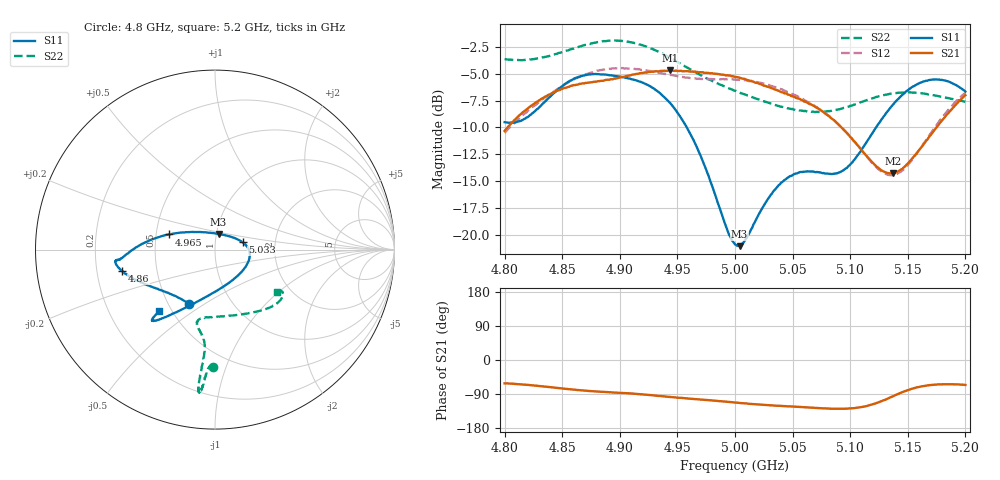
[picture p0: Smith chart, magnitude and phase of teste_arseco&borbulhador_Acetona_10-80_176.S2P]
! Network Analyzer HP8722D
! Hewlett-Packard
! Data name: Linha & Wilkinson
! Saver's name: Rodrigo Anjos
! Comments: Teste da utilização de aquisição
! continua pelo VNA HP8722D
! Time and date: 17/4/2025 15:49
!  Frequency  S11  S21  S12  S22
# HZ  S  MA R 50
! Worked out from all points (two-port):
!   401 points, 4.8 GHz to 5.2 GHz, reference 50 ohm
!   highest |S21| = -4.70 dB at 4.944 GHz (marker M1); lowest = -14.3 dB at 5.137 GHz (marker M2)
!   |S21| within 3 dB of the highest: 4.827 GHz to 5.063 GHz (236.1 MHz wide, 4.78 % of centre); 5.193316 GHz to end of sweep
!   lowest |S11| = -21.0 dB at 5.004 GHz (marker M3), VSWR 1.20, Z = 51.3 + j8.95 ohm
!   |S11| at or under -10 dB: 4.958 GHz to 5.122 GHz (164.2 MHz wide, 3.26 % of centre)
!   |S22| runs from -8.6 to -1.9 dB; largest |S21 - S12| = 0.87
!   S11 on the Smith chart (normalised r, x): 4.8 GHz: 0.63, -0.43; 4.86 GHz: 0.31, -0.10; 4.965 GHz: 0.59, +0.11; 5.033 GHz: 1.36, +0.11; 5.2 GHz: 0.43, -0.37
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4.8e9  0.3349 -115.4  0.3048 -61.6  0.2989 -175.9  0.6566 -90.9
4.819e9  0.3519 -135.5  0.3837 -65.6  0.3717 -175.0  0.6523 -92.4
4.86e9  0.5326 -167.1  0.4978 -78.0  0.528 -178.4  0.735 -94.7
4.867e9  0.5489 -169.8  0.5055 -80.2  0.5494 -179.5  0.7567 -95.1
4.9e9  0.545 -174.0  0.5391 -86.5  0.5956 174.2  0.799 -96.5
4.934e9  0.4611 -179.8  0.5763 -94.9  0.5685 170.8  0.7079 -96.8
4.944e9  0.409 175.6  0.5821 -97.6  0.5548 170.9  0.6654 -96.4
4.965e9  0.2694 161.7  0.5753 -103.2  0.5349 172.6  0.5743 -95.8
4.993e9  0.1069 116.4  0.5527 -110.2  0.5294 175.0  0.486 -98.3
5e9  0.09065 91.8  0.5434 -112.3  0.5285 175.0  0.4679 -99.9
5.004e9  0.08893 77.0  0.5386 -113.3  0.5252 175.0  0.4597 -100.6
5.033e9  0.159 14.8  0.4797 -120.0  0.4898 173.6  0.4058 -103.5
5.049e9  0.1885 -0.7  0.442 -122.5  0.453 173.0  0.3849 -99.2
5.067e9  0.1977 -19.9  0.4021 -125.8  0.405 172.7  0.3745 -89.3
5.085e9  0.1926 -48.4  0.3445 -128.6  0.3448 173.1  0.38 -75.6
5.096e9  0.2038 -70.4  0.3025 -128.5  0.303 174.6  0.3917 -66.8
5.121e9  0.3076 -109.2  0.2129 -115.8  0.2113 -170.7  0.4352 -49.6
5.134e9  0.3851 -119.4  0.1937 -99.7  0.19 -152.8  0.4529 -43.1
5.137e9  0.4025 -121.1  0.1935 -95.8  0.1904 -148.1  0.4553 -41.9
5.148e9  0.4624 -126.0  0.2096 -81.6  0.2065 -131.8  0.4606 -37.8
5.17e9  0.5266 -131.0  0.2924 -66.0  0.2974 -112.3  0.449 -32.7
5.2e9  0.4642 -132.2  0.4465 -65.9  0.4583 -107.9  0.4165 -34.4
